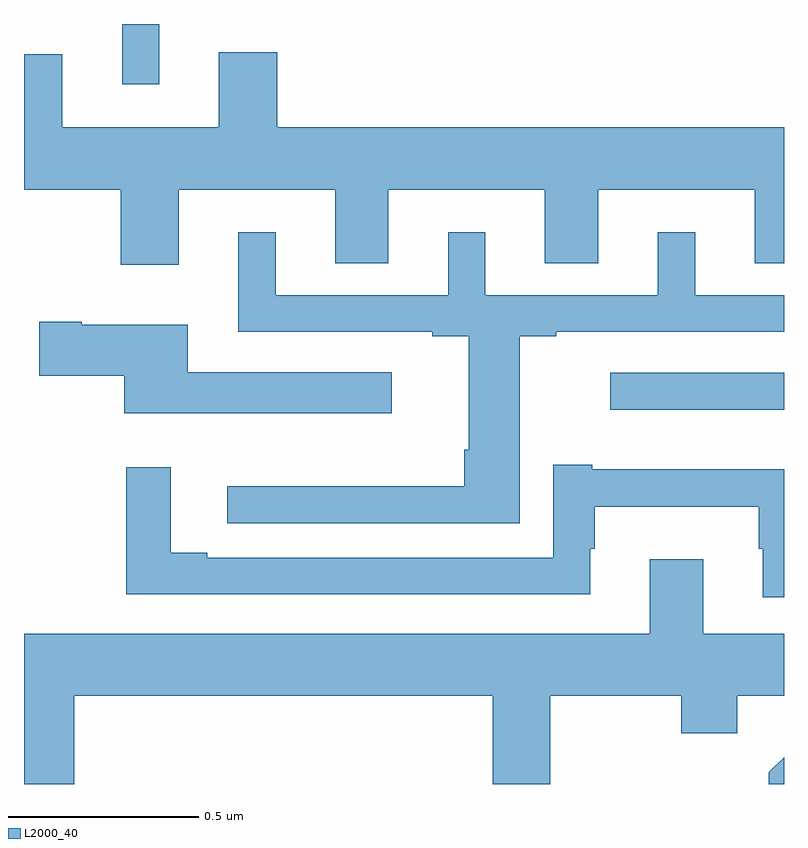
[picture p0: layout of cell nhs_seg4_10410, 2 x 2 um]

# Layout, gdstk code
import gdstk
lib = gdstk.Library(unit=1e-6, precision=1e-09)
def R(c, l, rs):  # rectangles x0, y0, x1, y1
    for r in rs: c.add(gdstk.rectangle(r[:2], r[2:], *l))
def P(c, l, *ps):  # polygons
    for p in ps: c.add(gdstk.Polygon(p, *l))
L2000_40 = (2000, 40)

nhs_seg4_10410 = lib.new_cell('nhs_seg4_10410')
R(nhs_seg4_10410, L2000_40, [(240.543,818.885,241,818.982), (239.258,819.741,239.356,819.9)])
P(nhs_seg4_10410, L2000_40, [(239.666,819.826),(239.513,819.826),(239.513,819.628),(239.101,819.628),(239.101,819.821),(239,819.821),(239,819.464),(239.255,819.464),(239.255,819.267),(239.407,819.267),(239.407,819.464),(239.819,819.464),(239.819,819.271),(239.959,819.271),(239.959,819.464),(240.371,819.464),(240.371,819.271),(240.511,819.271),(240.511,819.464),(240.923,819.464),(240.923,819.271),(241,819.271),(241,819.628),(239.666,819.628)],
  [(240.304,819.078),(240.4,819.078),(240.4,819.09),(241,819.09),(241,819.186),(240.766,819.186),(240.766,819.352),(240.668,819.352),(240.668,819.186),(240.214,819.186),(240.214,819.352),(240.116,819.352),(240.116,819.186),(239.662,819.186),(239.662,819.352),(239.564,819.352),(239.564,819.09),(240.074,819.09),(240.074,819.078),(240.17,819.078),(240.17,818.779),(240.158,818.779),(240.158,818.684),(239.535,818.684),(239.535,818.586),(240.304,818.586)],
  [(239.968,818.983),(239.431,818.983),(239.431,819.109),(239.152,819.109),(239.152,819.117),(239.04,819.117),(239.04,818.975),(239.264,818.975),(239.264,818.876),(239.968,818.876)],
  [(241,818.728),(240.496,818.728),(240.496,818.74),(240.393,818.74),(240.393,818.496),(239.482,818.496),(239.482,818.509),(239.386,818.509),(239.386,818.734),(239.269,818.734),(239.269,818.4),(240.49,818.4),(240.49,818.519),(240.502,818.519),(240.502,818.63),(240.933,818.63),(240.933,818.519),(240.944,818.519),(240.944,818.391),(241,818.391)],
  [(239.132,818.132),(240.233,818.132),(240.233,817.9),(240.385,817.9),(240.385,818.132),(240.73,818.132),(240.73,818.033),(240.877,818.033),(240.877,818.132),(241,818.132),(241,818.296),(240.787,818.296),(240.787,818.491),(240.647,818.491),(240.647,818.296),(239,818.296),(239,817.9),(239.132,817.9)],
  [(241,817.971),(240.96,817.931),(240.96,817.9),(241,817.9)])

lib.write_gds('nhs_seg4_10410.gds')
